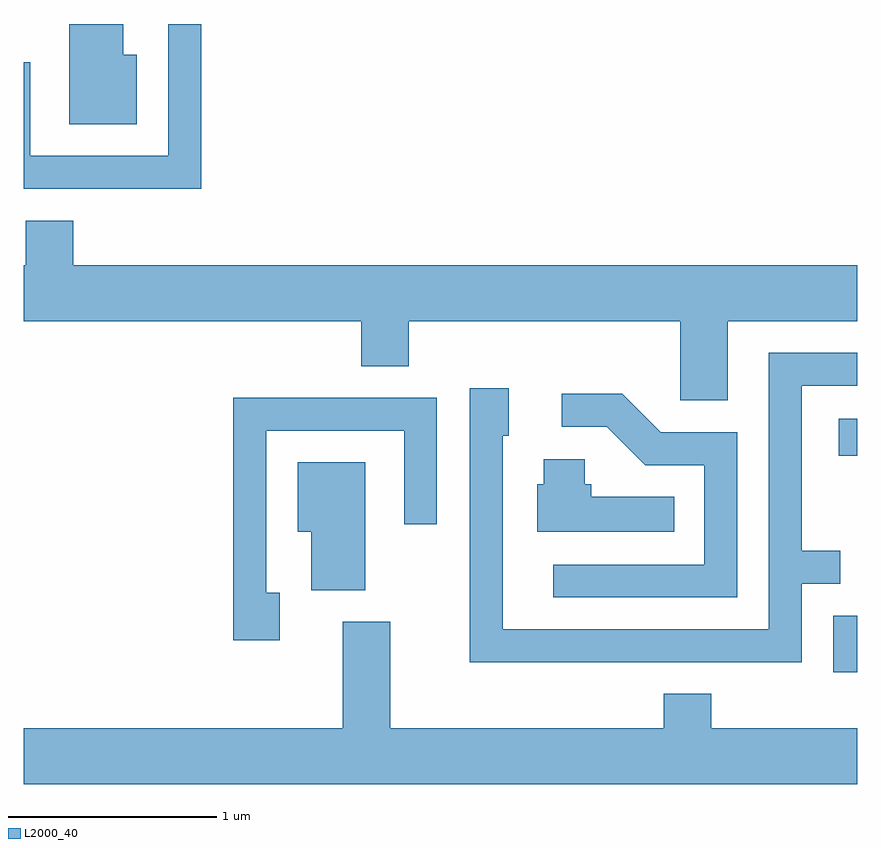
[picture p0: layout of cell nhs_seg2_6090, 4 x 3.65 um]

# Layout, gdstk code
import gdstk
lib = gdstk.Library(unit=1e-6, precision=1e-09)
def R(c, l, rs):  # rectangles x0, y0, x1, y1
    for r in rs: c.add(gdstk.rectangle(r[:2], r[2:], *l))
def P(c, l, *ps):  # polygons
    for p in ps: c.add(gdstk.Polygon(p, *l))
L2000_40 = (2000, 40)

nhs_seg2_6090 = lib.new_cell('nhs_seg2_6090')
R(nhs_seg2_6090, L2000_40, [(369.496,986.693,369.611,986.964), (369.521,987.731,369.611,987.909)])
P(nhs_seg2_6090, L2000_40, [(366.464,989.802),(366.306,989.802),(366.306,989.169),(365.644,989.169),(365.644,989.618),(365.611,989.618),(365.611,989.011),(366.464,989.011)],
  [(366.154,989.654),(366.089,989.654),(366.089,989.802),(365.831,989.802),(365.831,989.321),(366.154,989.321)],
  [(368.989,988.376),(369.611,988.376),(369.611,988.644),(365.849,988.644),(365.849,988.859),(365.621,988.859),(365.621,988.644),(365.611,988.644),(365.611,988.376),(367.231,988.376),(367.231,988.161),(367.459,988.161),(367.459,988.376),(368.761,988.376),(368.761,987.996),(368.989,987.996)],
  [(369.344,987.116),(369.528,987.116),(369.528,987.274),(369.344,987.274),(369.344,988.066),(369.611,988.066),(369.611,988.224),(369.186,988.224),(369.186,986.899),(367.909,986.899),(367.909,987.826),(367.939,987.826),(367.939,988.054),(367.751,988.054),(367.751,986.741),(369.344,986.741)],
  [(369.034,987.844),(368.667,987.844),(368.482,988.029),(368.193,988.029),(368.193,987.871),(368.409,987.871),(368.594,987.686),(368.876,987.686),(368.876,987.209),(368.153,987.209),(368.153,987.051),(369.034,987.051)],
  [(366.839,987.074),(366.774,987.074),(366.774,987.851),(367.436,987.851),(367.436,987.403),(367.594,987.403),(367.594,988.009),(366.616,988.009),(366.616,986.846),(366.839,986.846)],
  [(368.733,987.534),(368.334,987.534),(368.334,987.594),(368.304,987.594),(368.304,987.714),(368.106,987.714),(368.106,987.594),(368.076,987.594),(368.076,987.366),(368.733,987.366)],
  [(367.249,987.699),(366.926,987.699),(366.926,987.366),(366.991,987.366),(366.991,987.086),(367.249,987.086)],
  [(369.611,986.424),(368.909,986.424),(368.909,986.589),(368.681,986.589),(368.681,986.424),(367.369,986.424),(367.369,986.934),(367.141,986.934),(367.141,986.424),(365.611,986.424),(365.611,986.156),(369.611,986.156)])

lib.write_gds('nhs_seg2_6090.gds')
